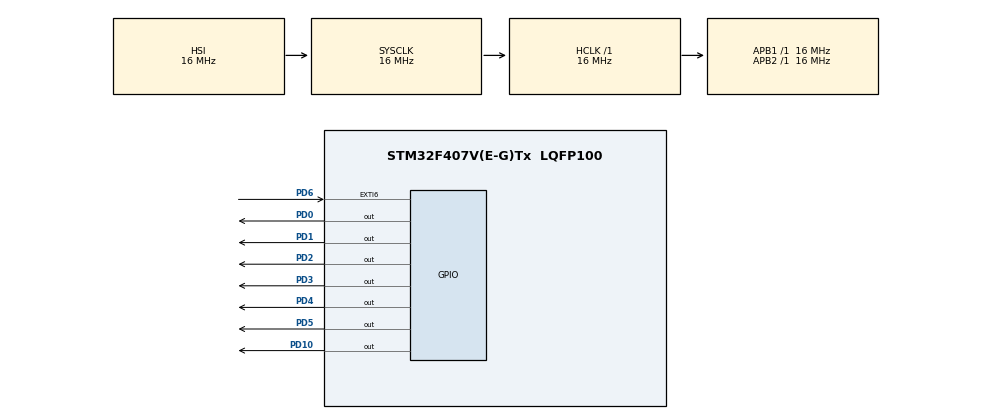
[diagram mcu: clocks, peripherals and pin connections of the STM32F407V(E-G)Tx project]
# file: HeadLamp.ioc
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Mcu.Family=STM32F4
Mcu.Name=STM32F407V(E-G)Tx
Mcu.Package=LQFP100
NVIC.EXTI9_5_IRQn=true\:0\:0\:false\:false\:true\:true\:true\:true
NVIC.PriorityGroup=NVIC_PRIORITYGROUP_4
PD0.Signal=GPIO_Output
PD1.Signal=GPIO_Output
PD10.Signal=GPIO_Output
PD2.Signal=GPIO_Output
PD3.Signal=GPIO_Output
PD4.Signal=GPIO_Output
PD5.Signal=GPIO_Output
PD6.GPIO_ModeDefaultEXTI=GPIO_MODE_IT_FALLING
PD6.GPIO_PuPd=GPIO_PULLUP
PD6.Signal=GPXTI6
ProjectManager.HeapSize=0x200
ProjectManager.StackSize=0x400
ProjectManager.TargetToolchain=STM32CubeIDE
RCC.AHBFreq_Value=16000000
RCC.APB1Freq_Value=16000000
RCC.APB2Freq_Value=16000000
RCC.CortexFreq_Value=16000000
RCC.HSE_VALUE=25000000
RCC.HSI_VALUE=16000000
RCC.LSE_VALUE=32768
RCC.SYSCLKFreq_VALUE=16000000
RCC.VCOOutputFreq_Value=192000000
board=custom

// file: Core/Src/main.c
/* USER CODE BEGIN Header */
/**
  ******************************************************************************
  * @file           : main.c
  * @brief          : Main program body
  ******************************************************************************
  * @attention
  *
  * Copyright (c) 2025 STMicroelectronics.
  * All rights reserved.
  *
  * This software is licensed under terms that can be found in the LICENSE file
  * in the root directory of this software component.
  * If no LICENSE file comes with this software, it is provided AS-IS.
  *
  ******************************************************************************
  */
/* USER CODE END Header */
#include "main.h"
#include <stdbool.h>

void SystemClock_Config(void);
static void MX_GPIO_Init(void);

/* USER CODE BEGIN 0 */
// Define LCD pins (Modify if using different GPIO)
#define RS_PIN     GPIO_PIN_1
#define RS_PORT    GPIOD
#define EN_PIN     GPIO_PIN_0
#define EN_PORT    GPIOD
#define D4_PIN     GPIO_PIN_2
#define D5_PIN     GPIO_PIN_3
#define D6_PIN     GPIO_PIN_4
#define D7_PIN     GPIO_PIN_5
#define DATA_PORT  GPIOD

char buffer[16];
void LCD_EnablePulse(void);
void LCD_Send4Bits(uint8_t data);
void LCD_Command(uint8_t cmd);
// Initialize LCD
void LCD_Init(void) {
    HAL_Delay(20); // Wait for power stabilization

    LCD_Command(0x02); // Set 4-bit mode
    LCD_Command(0x28); // 2-line, 5x8 matrix
    LCD_Command(0x0C); // Display ON, Cursor OFF
    LCD_Command(0x06); // Auto increment cursor
    LCD_Command(0x01); // Clear display
    HAL_Delay(2);
}

// Send command to LCD
void LCD_Command(uint8_t cmd) {
    HAL_GPIO_WritePin(RS_PORT, RS_PIN, GPIO_PIN_RESET); // RS = 0 (Command mode)

    LCD_Send4Bits(cmd >> 4); // Send upper nibble
    LCD_Send4Bits(cmd);      // Send lower nibble
}

// Send character to LCD
void LCD_Char(uint8_t data) {
    HAL_GPIO_WritePin(RS_PORT, RS_PIN, GPIO_PIN_SET); // RS = 1 (Data mode)

    LCD_Send4Bits(data >> 4); // Send upper nibble
    LCD_Send4Bits(data);      // Send lower nibble
}

// Send string to LCD
void LCD_String(char *str) {
    while (*str) {
        LCD_Char(*str++);
    }
}

// Set cursor position
void LCD_SetCursor(uint8_t row, uint8_t col) {
    uint8_t pos = (row == 0) ? (0x80 + col) : (0xC0 + col);
    LCD_Command(pos);
}

// Clear LCD display
void LCD_Clear(void) {
    LCD_Command(0x01);
    HAL_Delay(2);
}

// Send 4-bit data
void LCD_Send4Bits(uint8_t data) {
    HAL_GPIO_WritePin(DATA_PORT, D4_PIN, (data >> 0) & 0x01);
    HAL_GPIO_WritePin(DATA_PORT, D5_PIN, (data >> 1) & 0x01);
    HAL_GPIO_WritePin(DATA_PORT, D6_PIN, (data >> 2) & 0x01);
    HAL_GPIO_WritePin(DATA_PORT, D7_PIN, (data >> 3) & 0x01);

    LCD_EnablePulse();
}

// Generate Enable Pulse
void LCD_EnablePulse(void) {
    HAL_GPIO_WritePin(EN_PORT, EN_PIN, GPIO_PIN_SET);
    HAL_Delay(1);
    HAL_GPIO_WritePin(EN_PORT, EN_PIN, GPIO_PIN_RESET);
    HAL_Delay(1);
}

/* USER CODE BEGIN 0 */
/**
  * @brief This function handles EXTI line[9:5] interrupts.
  */
volatile bool On_OFF_HeadLamp = false;
void EXTI9_5_IRQHandler(void)
{
  /* USER CODE BEGIN EXTI9_5_IRQn 0 */

  /* USER CODE END EXTI9_5_IRQn 0 */
  HAL_GPIO_EXTI_IRQHandler(GPIO_PIN_6);
  On_OFF_HeadLamp = !On_OFF_HeadLamp;
  /* USER CODE BEGIN EXTI9_5_IRQn 1 */

  /* USER CODE END EXTI9_5_IRQn 1 */
}

/**
  * @brief  This function handles EXTI interrupt request.
  * @param  GPIO_Pin Specifies the pins connected EXTI line
  * @retval None
  */
void HAL_GPIO_EXTI_IRQHandler(uint16_t GPIO_Pin)
{
  /* EXTI line interrupt detected */
  if(__HAL_GPIO_EXTI_GET_IT(GPIO_Pin) != RESET)
  {
    __HAL_GPIO_EXTI_CLEAR_IT(GPIO_Pin);
    HAL_GPIO_EXTI_Callback(GPIO_Pin);
  }
}

/**
  * @brief  EXTI line detection callbacks.
  * @param  GPIO_Pin Specifies the pins connected EXTI line
  * @retval None
  */
void HAL_GPIO_EXTI_Callback(uint16_t GPIO_Pin)
{
	if (GPIO_Pin == GPIO_PIN_6) {
		HAL_GPIO_TogglePin(GPIOD, GPIO_PIN_10);  // Toggle PD10
	}
  /* NOTE: This function Should not be modified, when the callback is needed,
           the HAL_GPIO_EXTI_Callback could be implemented in the user file
   */
}
/* USER CODE END 0 */

int main(void)
{

  /* MCU Configuration--------------------------------------------------------*/

  /* Reset of all peripherals, Initializes the Flash interface and the Systick. */
  HAL_Init();

  /* Configure the system clock */
  SystemClock_Config();

  /* Initialize all configured peripherals */
  MX_GPIO_Init();
  /* USER CODE BEGIN 2 */
	LCD_Init(); // Initialize LCD
	LCD_SetCursor(0, 0);
	LCD_String("   Head  Lamp   ");
	HAL_Delay(1000);
  /* USER CODE END 2 */

  /* Infinite loop */
  while (1)
  {

    /* USER CODE BEGIN 3 */
	  LCD_SetCursor(1, 0);
		if(On_OFF_HeadLamp)
		{
			LCD_String("  Light bright  ");
		}
		else
		{
			LCD_String("   Full bright  ");
		}

	  HAL_Delay(100);

  }
  /* USER CODE END 3 */
}

void SystemClock_Config(void)
{
  RCC_OscInitTypeDef RCC_OscInitStruct = {0};
  RCC_ClkInitTypeDef RCC_ClkInitStruct = {0};

  /** Configure the main internal regulator output voltage
  */
  __HAL_RCC_PWR_CLK_ENABLE();
  __HAL_PWR_VOLTAGESCALING_CONFIG(PWR_REGULATOR_VOLTAGE_SCALE1);

  /** Initializes the RCC Oscillators according to the specified parameters
  * in the RCC_OscInitTypeDef structure.
  */
  RCC_OscInitStruct.OscillatorType = RCC_OSCILLATORTYPE_HSI;
  RCC_OscInitStruct.HSIState = RCC_HSI_ON;
  RCC_OscInitStruct.HSICalibrationValue = RCC_HSICALIBRATION_DEFAULT;
  RCC_OscInitStruct.PLL.PLLState = RCC_PLL_NONE;
  if (HAL_RCC_OscConfig(&RCC_OscInitStruct) != HAL_OK)
  {
    Error_Handler();
  }

  /** Initializes the CPU, AHB and APB buses clocks
  */
  RCC_ClkInitStruct.ClockType = RCC_CLOCKTYPE_HCLK|RCC_CLOCKTYPE_SYSCLK
                              |RCC_CLOCKTYPE_PCLK1|RCC_CLOCKTYPE_PCLK2;
  RCC_ClkInitStruct.SYSCLKSource = RCC_SYSCLKSOURCE_HSI;
  RCC_ClkInitStruct.AHBCLKDivider = RCC_SYSCLK_DIV1;
  RCC_ClkInitStruct.APB1CLKDivider = RCC_HCLK_DIV1;
  RCC_ClkInitStruct.APB2CLKDivider = RCC_HCLK_DIV1;

  if (HAL_RCC_ClockConfig(&RCC_ClkInitStruct, FLASH_LATENCY_0) != HAL_OK)
  {
    Error_Handler();
  }
}

static void MX_GPIO_Init(void)
{
  GPIO_InitTypeDef GPIO_InitStruct = {0};

  /* GPIO Ports Clock Enable */
  __HAL_RCC_GPIOD_CLK_ENABLE();

  /*Configure GPIO pin Output Level */
  HAL_GPIO_WritePin(GPIOD, GPIO_PIN_10|GPIO_PIN_0|GPIO_PIN_1|GPIO_PIN_2
                          |GPIO_PIN_3|GPIO_PIN_4|GPIO_PIN_5, GPIO_PIN_RESET);

  /*Configure GPIO pins : PD10 PD0 PD1 PD2
                           PD3 PD4 PD5 */
  GPIO_InitStruct.Pin = GPIO_PIN_10|GPIO_PIN_0|GPIO_PIN_1|GPIO_PIN_2
                          |GPIO_PIN_3|GPIO_PIN_4|GPIO_PIN_5;
  GPIO_InitStruct.Mode = GPIO_MODE_OUTPUT_PP;
  GPIO_InitStruct.Pull = GPIO_NOPULL;
  GPIO_InitStruct.Speed = GPIO_SPEED_FREQ_LOW;
  HAL_GPIO_Init(GPIOD, &GPIO_InitStruct);

  /*Configure GPIO pin : PD6 */
  GPIO_InitStruct.Pin = GPIO_PIN_6;
  GPIO_InitStruct.Mode = GPIO_MODE_IT_FALLING;
  GPIO_InitStruct.Pull = GPIO_PULLUP;
  HAL_GPIO_Init(GPIOD, &GPIO_InitStruct);

  /* EXTI interrupt init*/
  HAL_NVIC_SetPriority(EXTI9_5_IRQn, 0, 0);
  HAL_NVIC_EnableIRQ(EXTI9_5_IRQn);

}

void Error_Handler(void)
{
  __disable_irq();
  while (1)
  {
  }
}
